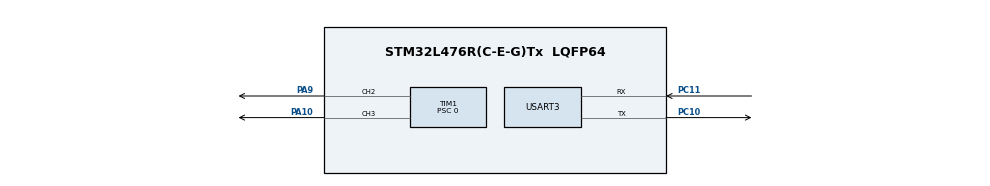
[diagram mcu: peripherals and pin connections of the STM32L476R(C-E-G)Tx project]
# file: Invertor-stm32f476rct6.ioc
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Dma.Request0=USART3_RX
Dma.USART3_RX.0.Direction=DMA_PERIPH_TO_MEMORY
Dma.USART3_RX.0.Instance=DMA1_Channel3
Dma.USART3_RX.0.MemDataAlignment=DMA_MDATAALIGN_BYTE
Dma.USART3_RX.0.MemInc=DMA_MINC_ENABLE
Dma.USART3_RX.0.Mode=DMA_NORMAL
Dma.USART3_RX.0.PeriphDataAlignment=DMA_PDATAALIGN_BYTE
Dma.USART3_RX.0.PeriphInc=DMA_PINC_DISABLE
Dma.USART3_RX.0.Priority=DMA_PRIORITY_MEDIUM
Mcu.Family=STM32L4
Mcu.Name=STM32L476R(C-E-G)Tx
Mcu.Package=LQFP64
NVIC.DMA1_Channel3_IRQn=true\:0\:0\:false\:false\:true\:false\:true\:true
NVIC.PriorityGroup=NVIC_PRIORITYGROUP_4
NVIC.USART3_IRQn=true\:0\:0\:false\:false\:true\:true\:true\:true
PA10.Signal=S_TIM1_CH3
PA9.Signal=S_TIM1_CH2
PC10.Mode=Asynchronous
PC10.Signal=USART3_TX
PC11.Mode=Asynchronous
PC11.Signal=USART3_RX
PH0-OSC_IN\ (PH0).Mode=HSE-External-Oscillator
PH0-OSC_IN\ (PH0).Signal=RCC_OSC_IN
PH1-OSC_OUT\ (PH1).Mode=HSE-External-Oscillator
PH1-OSC_OUT\ (PH1).Signal=RCC_OSC_OUT
ProjectManager.HeapSize=0x200
ProjectManager.StackSize=0x400
ProjectManager.TargetToolchain=STM32CubeIDE
RCC.ADCFreq_Value=64000000
RCC.HSE_VALUE=8000000
RCC.HSI_VALUE=16000000
RCC.LSE_VALUE=32768
RCC.MSI_VALUE=4000000
RCC.PLLSourceVirtual=RCC_PLLSOURCE_HSI
RCC.USBFreq_Value=64000000
RCC.VCOOutputFreq_Value=128000000
SH.S_TIM1_CH2.0=TIM1_CH2,PWM Generation2 CH2
SH.S_TIM1_CH3.0=TIM1_CH3,PWM Generation3 CH3
TIM1.Channel-PWM\ Generation2\ CH2=TIM_CHANNEL_2
TIM1.Channel-PWM\ Generation3\ CH3=TIM_CHANNEL_3
TIM1.OCPolarity_3=TIM_OCPOLARITY_LOW
TIM1.Period=999
TIM1.Prescaler=0
TIM1.Pulse-PWM\ Generation2\ CH2=500
TIM1.Pulse-PWM\ Generation3\ CH3=500
USART3.VirtualMode-Asynchronous=VM_ASYNC
board=custom

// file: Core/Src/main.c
/* USER CODE BEGIN Header */
/**
 ******************************************************************************
 * @file           : main.c
 * @brief          : Main program body
 ******************************************************************************
 * @attention
 *
 * Copyright (c) 2024 STMicroelectronics.
 * All rights reserved.
 *
 * This software is licensed under terms that can be found in the LICENSE file
 * in the root directory of this software component.
 * If no LICENSE file comes with this software, it is provided AS-IS.
 *
 ******************************************************************************
 */
/* USER CODE END Header */
#include "main.h"

/* USER CODE BEGIN PM */
#define RX_BUFFER_SIZE 1024  // Задайте нужный размер буфера

/* USER CODE END PM */

TIM_HandleTypeDef htim1;

UART_HandleTypeDef huart3;
DMA_HandleTypeDef hdma_usart3_rx;

/* USER CODE BEGIN PV */

volatile uint16_t commandLength = 0;  // Текущая длина команды
uint8_t commandBuffer[RX_BUFFER_SIZE];  // Буфер для команды
uint8_t rxBuffer[RX_BUFFER_SIZE];  // Буфер для приема данных через DMA
uint16_t rx_index = 0;  // индекс для отслеживания положения в буфере

/* USER CODE END PV */

void SystemClock_Config(void);
static void MX_GPIO_Init(void);
static void MX_DMA_Init(void);
static void MX_TIM1_Init(void);
static void MX_USART3_UART_Init(void);

/* USER CODE BEGIN 0 */

void SetPWMFrequency(TIM_HandleTypeDef *htim, uint32_t frequency) {

	int timerClock = HAL_RCC_GetPCLK2Freq();
	int period = ((HAL_RCC_GetPCLK2Freq() / (htim->Init.Prescaler + 1))
			/ frequency) - 1;

	__HAL_TIM_SET_AUTORELOAD(htim, period);
	HAL_TIM_GenerateEvent(htim, TIM_EVENTSOURCE_UPDATE); // Применить изменения
}

void SetPWMDutyCycle(TIM_HandleTypeDef *htim, uint32_t dutyCycle) {
	uint32_t pulse = (htim->Init.Period + 1) * dutyCycle / 100;

	// Установка коэффициента заполнения для каналов
	__HAL_TIM_SET_COMPARE(htim, TIM_CHANNEL_2, pulse);
	__HAL_TIM_SET_COMPARE(htim, TIM_CHANNEL_3, pulse);
}

void UART_DMA_Init(void) {
	// Запуск DMA на прием данных
	HAL_UART_Receive_DMA(&huart3, rxBuffer, RX_BUFFER_SIZE);
	// Включение прерывания IDLE для UART
	__HAL_UART_ENABLE_IT(&huart3, UART_IT_IDLE);
}

void ProcessCommand(uint8_t *command, uint16_t length) {
	// Функция обработки команды, завершенной символом ';'
	uint32_t frequency = 0;
	uint32_t dutyCycle = 0;

	// Парсинг данных (пример для простоты)
	sscanf((char*) command, "F:%lu,D:%lu;", &frequency, &dutyCycle);

	// Обновление параметров таймера
	SetPWMFrequency(&htim1, frequency);
	SetPWMDutyCycle(&htim1, dutyCycle);
	//printf("Received command: %.*s\n", length, command);
	HAL_UART_Transmit(&huart3, command, length, 1000);
	// Здесь может быть дополнительная логика обработки команды
}

void UART_IDLE_Callback(void) {
	// Определение количества принятых байт в буфере DMA
	uint16_t bytesReceived = RX_BUFFER_SIZE
			- __HAL_DMA_GET_COUNTER(huart3.hdmarx);

	// Копирование новых данных из rxBuffer в commandBuffer, начиная с текущей позиции
	for (uint16_t i = rx_index; i < bytesReceived; i++) {
		uint8_t byte = rxBuffer[i];

		// Копирование байта в командный буфер
		if (commandLength < RX_BUFFER_SIZE - 1) {
			commandBuffer[commandLength++] = byte;
		}

		// Если байт - это ';', то обработать команду
		if (byte == ';') {
			ProcessCommand(commandBuffer, commandLength); // Вызываем обработку команды
			commandLength = 0;  // Сброс длины команды для новой команды
			memset(commandBuffer, 0, RX_BUFFER_SIZE);  // Очистка буфера команды
			break; // Прекращаем проверку оставшихся данных, если команда завершена
		}
	}

	// Сохранение текущей позиции в буфере для следующего прерывания
	rx_index = bytesReceived;

	// Перезапуск DMA для приема новых данных
	HAL_UART_Receive_DMA(&huart3, rxBuffer, RX_BUFFER_SIZE);
}
/* USER CODE END 0 */

int main(void)
{

  /* MCU Configuration--------------------------------------------------------*/

  /* Reset of all peripherals, Initializes the Flash interface and the Systick. */
  HAL_Init();

  /* Configure the system clock */
  SystemClock_Config();

  /* Initialize all configured peripherals */
  MX_GPIO_Init();
  MX_DMA_Init();
  MX_TIM1_Init();
  MX_USART3_UART_Init();
  /* USER CODE BEGIN 2 */
	//HAL_UART_Receive_IT(&huart3, rx_buffer, 1); // Прием строки фиксированной длины
	UART_DMA_Init();
	HAL_TIM_PWM_Start(&htim1, TIM_CHANNEL_3);
	HAL_TIM_PWM_Start(&htim1, TIM_CHANNEL_2);
	SetPWMFrequency(&htim1, 100);
	SetPWMDutyCycle(&htim1, 80);
  /* USER CODE END 2 */

  /* Infinite loop */
  /* USER CODE BEGIN WHILE */
	while (1) {
		//HAL_UART_Transmit(&huart3, "hello", sizeof("hello"), 1000);
    /* USER CODE END WHILE */

	}
}

void SystemClock_Config(void)
{
  RCC_OscInitTypeDef RCC_OscInitStruct = {0};
  RCC_ClkInitTypeDef RCC_ClkInitStruct = {0};

  /** Configure the main internal regulator output voltage
  */
  if (HAL_PWREx_ControlVoltageScaling(PWR_REGULATOR_VOLTAGE_SCALE1) != HAL_OK)
  {
    Error_Handler();
  }

  /** Initializes the RCC Oscillators according to the specified parameters
  * in the RCC_OscInitTypeDef structure.
  */
  RCC_OscInitStruct.OscillatorType = RCC_OSCILLATORTYPE_MSI;
  RCC_OscInitStruct.MSIState = RCC_MSI_ON;
  RCC_OscInitStruct.MSICalibrationValue = 0;
  RCC_OscInitStruct.MSIClockRange = RCC_MSIRANGE_6;
  RCC_OscInitStruct.PLL.PLLState = RCC_PLL_NONE;
  if (HAL_RCC_OscConfig(&RCC_OscInitStruct) != HAL_OK)
  {
    Error_Handler();
  }

  /** Initializes the CPU, AHB and APB buses clocks
  */
  RCC_ClkInitStruct.ClockType = RCC_CLOCKTYPE_HCLK|RCC_CLOCKTYPE_SYSCLK
                              |RCC_CLOCKTYPE_PCLK1|RCC_CLOCKTYPE_PCLK2;
  RCC_ClkInitStruct.SYSCLKSource = RCC_SYSCLKSOURCE_MSI;
  RCC_ClkInitStruct.AHBCLKDivider = RCC_SYSCLK_DIV1;
  RCC_ClkInitStruct.APB1CLKDivider = RCC_HCLK_DIV1;
  RCC_ClkInitStruct.APB2CLKDivider = RCC_HCLK_DIV1;

  if (HAL_RCC_ClockConfig(&RCC_ClkInitStruct, FLASH_LATENCY_0) != HAL_OK)
  {
    Error_Handler();
  }
}

static void MX_TIM1_Init(void)
{

  TIM_MasterConfigTypeDef sMasterConfig = {0};
  TIM_OC_InitTypeDef sConfigOC = {0};
  TIM_BreakDeadTimeConfigTypeDef sBreakDeadTimeConfig = {0};

  htim1.Instance = TIM1;
  htim1.Init.Prescaler = 0;
  htim1.Init.CounterMode = TIM_COUNTERMODE_UP;
  htim1.Init.Period = 999;
  htim1.Init.ClockDivision = TIM_CLOCKDIVISION_DIV1;
  htim1.Init.RepetitionCounter = 0;
  htim1.Init.AutoReloadPreload = TIM_AUTORELOAD_PRELOAD_DISABLE;
  if (HAL_TIM_PWM_Init(&htim1) != HAL_OK)
  {
    Error_Handler();
  }
  sMasterConfig.MasterOutputTrigger = TIM_TRGO_RESET;
  sMasterConfig.MasterOutputTrigger2 = TIM_TRGO2_RESET;
  sMasterConfig.MasterSlaveMode = TIM_MASTERSLAVEMODE_DISABLE;
  if (HAL_TIMEx_MasterConfigSynchronization(&htim1, &sMasterConfig) != HAL_OK)
  {
    Error_Handler();
  }
  sConfigOC.OCMode = TIM_OCMODE_PWM1;
  sConfigOC.Pulse = 500;
  sConfigOC.OCPolarity = TIM_OCPOLARITY_HIGH;
  sConfigOC.OCNPolarity = TIM_OCNPOLARITY_HIGH;
  sConfigOC.OCFastMode = TIM_OCFAST_DISABLE;
  sConfigOC.OCIdleState = TIM_OCIDLESTATE_RESET;
  sConfigOC.OCNIdleState = TIM_OCNIDLESTATE_RESET;
  if (HAL_TIM_PWM_ConfigChannel(&htim1, &sConfigOC, TIM_CHANNEL_2) != HAL_OK)
  {
    Error_Handler();
  }
  sConfigOC.OCPolarity = TIM_OCPOLARITY_LOW;
  if (HAL_TIM_PWM_ConfigChannel(&htim1, &sConfigOC, TIM_CHANNEL_3) != HAL_OK)
  {
    Error_Handler();
  }
  sBreakDeadTimeConfig.OffStateRunMode = TIM_OSSR_DISABLE;
  sBreakDeadTimeConfig.OffStateIDLEMode = TIM_OSSI_DISABLE;
  sBreakDeadTimeConfig.LockLevel = TIM_LOCKLEVEL_OFF;
  sBreakDeadTimeConfig.DeadTime = 0;
  sBreakDeadTimeConfig.BreakState = TIM_BREAK_DISABLE;
  sBreakDeadTimeConfig.BreakPolarity = TIM_BREAKPOLARITY_HIGH;
  sBreakDeadTimeConfig.BreakFilter = 0;
  sBreakDeadTimeConfig.Break2State = TIM_BREAK2_DISABLE;
  sBreakDeadTimeConfig.Break2Polarity = TIM_BREAK2POLARITY_HIGH;
  sBreakDeadTimeConfig.Break2Filter = 0;
  sBreakDeadTimeConfig.AutomaticOutput = TIM_AUTOMATICOUTPUT_DISABLE;
  if (HAL_TIMEx_ConfigBreakDeadTime(&htim1, &sBreakDeadTimeConfig) != HAL_OK)
  {
    Error_Handler();
  }
  HAL_TIM_MspPostInit(&htim1);

}

static void MX_USART3_UART_Init(void)
{

  huart3.Instance = USART3;
  huart3.Init.BaudRate = 115200;
  huart3.Init.WordLength = UART_WORDLENGTH_8B;
  huart3.Init.StopBits = UART_STOPBITS_1;
  huart3.Init.Parity = UART_PARITY_NONE;
  huart3.Init.Mode = UART_MODE_TX_RX;
  huart3.Init.HwFlowCtl = UART_HWCONTROL_NONE;
  huart3.Init.OverSampling = UART_OVERSAMPLING_16;
  huart3.Init.OneBitSampling = UART_ONE_BIT_SAMPLE_DISABLE;
  huart3.AdvancedInit.AdvFeatureInit = UART_ADVFEATURE_NO_INIT;
  if (HAL_UART_Init(&huart3) != HAL_OK)
  {
    Error_Handler();
  }

}

static void MX_DMA_Init(void)
{

  /* DMA controller clock enable */
  __HAL_RCC_DMA1_CLK_ENABLE();

  /* DMA interrupt init */
  /* DMA1_Channel3_IRQn interrupt configuration */
  HAL_NVIC_SetPriority(DMA1_Channel3_IRQn, 0, 0);
  HAL_NVIC_EnableIRQ(DMA1_Channel3_IRQn);

}

static void MX_GPIO_Init(void)
{

  /* GPIO Ports Clock Enable */
  __HAL_RCC_GPIOH_CLK_ENABLE();
  __HAL_RCC_GPIOA_CLK_ENABLE();
  __HAL_RCC_GPIOC_CLK_ENABLE();

}

void Error_Handler(void)
{
	__disable_irq();
	while (1) {
	}
}
